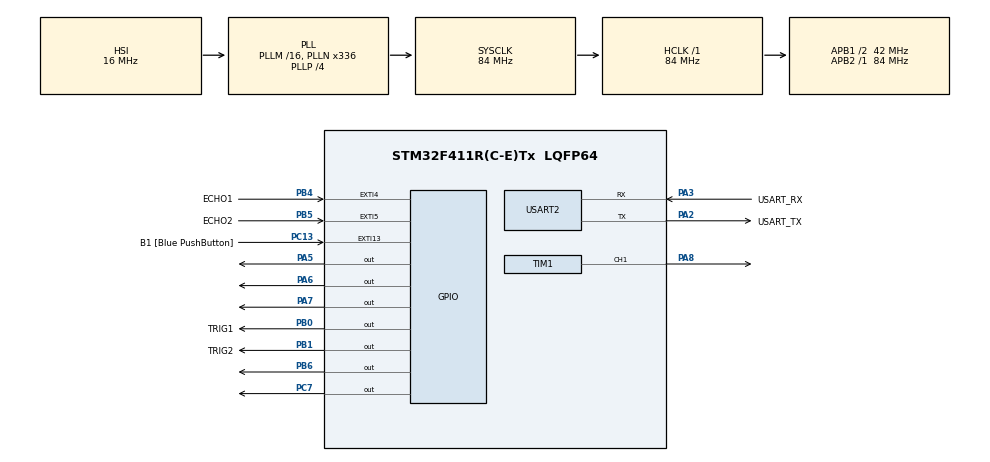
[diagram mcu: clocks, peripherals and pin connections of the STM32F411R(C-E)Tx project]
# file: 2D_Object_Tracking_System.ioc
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Mcu.Family=STM32F4
Mcu.Name=STM32F411R(C-E)Tx
Mcu.Package=LQFP64
NVIC.EXTI4_IRQn=true\:0\:0\:false\:false\:true\:true\:true\:true
NVIC.EXTI9_5_IRQn=true\:0\:0\:false\:false\:true\:true\:true\:true
NVIC.PriorityGroup=NVIC_PRIORITYGROUP_0
PA13.GPIO_Label=TMS
PA13.Mode=Serial_Wire
PA13.Signal=SYS_JTMS-SWDIO
PA14.GPIO_Label=TCK
PA14.Mode=Serial_Wire
PA14.Signal=SYS_JTCK-SWCLK
PA2.GPIO_Label=USART_TX
PA2.Mode=Asynchronous
PA2.Signal=USART2_TX
PA3.GPIO_Label=USART_RX
PA3.Mode=Asynchronous
PA3.Signal=USART2_RX
PA5.Signal=GPIO_Output
PA6.Signal=GPIO_Output
PA7.Signal=GPIO_Output
PA8.Signal=S_TIM1_CH1
PB0.GPIO_Label=TRIG1
PB0.Signal=GPIO_Output
PB1.GPIO_Label=TRIG2
PB1.Signal=GPIO_Output
PB3.GPIO_Label=SWO
PB3.Signal=SYS_JTDO-SWO
PB4.GPIO_Label=ECHO1
PB4.Signal=GPXTI4
PB5.GPIO_Label=ECHO2
PB5.Signal=GPXTI5
PB6.Signal=GPIO_Output
PC13-ANTI_TAMP.GPIO_Label=B1 [Blue PushButton]
PC13-ANTI_TAMP.GPIO_ModeDefaultEXTI=GPIO_MODE_IT_FALLING
PC13-ANTI_TAMP.Signal=GPXTI13
PC14-OSC32_IN.Mode=LSE-External-Oscillator
PC14-OSC32_IN.Signal=RCC_OSC32_IN
PC15-OSC32_OUT.Mode=LSE-External-Oscillator
PC15-OSC32_OUT.Signal=RCC_OSC32_OUT
PC7.Signal=GPIO_Output
PH0\ -\ OSC_IN.Mode=HSE-External-Oscillator
PH0\ -\ OSC_IN.Signal=RCC_OSC_IN
PH1\ -\ OSC_OUT.Mode=HSE-External-Oscillator
PH1\ -\ OSC_OUT.Signal=RCC_OSC_OUT
ProjectManager.HeapSize=0x200
ProjectManager.StackSize=0x400
ProjectManager.TargetToolchain=STM32CubeIDE
RCC.48MHZClocksFreq_Value=84000000
RCC.AHBFreq_Value=84000000
RCC.APB1CLKDivider=RCC_HCLK_DIV2
RCC.APB1Freq_Value=42000000
RCC.APB1TimFreq_Value=84000000
RCC.APB2Freq_Value=84000000
RCC.APB2TimFreq_Value=84000000
RCC.CortexFreq_Value=84000000
RCC.FLatency-AdvancedSettings=FLASH_LATENCY_2
RCC.HCLKFreq_Value=84000000
RCC.HSE_VALUE=8000000
RCC.HSI_VALUE=16000000
RCC.PLLN=336
RCC.PLLP=RCC_PLLP_DIV4
RCC.SYSCLKFreq_VALUE=84000000
RCC.SYSCLKSource=RCC_SYSCLKSOURCE_PLLCLK
RCC.VCOOutputFreq_Value=336000000
SH.S_TIM1_CH1.0=TIM1_CH1,PWM Generation1 CH1
TIM1.Channel-PWM\ Generation1\ CH1=TIM_CHANNEL_1
TIM1.Period=19999
TIM1.Prescaler=99
TIM1.Pulse-PWM\ Generation1\ CH1=1500
TIM2.Period=65535
TIM2.Prescaler=99
USART2.VirtualMode=VM_ASYNC
VP_TIM1_VS_ClockSourceINT.Mode=Internal
VP_TIM2_VS_ClockSourceINT.Mode=Internal
board=NUCLEO-F411RE

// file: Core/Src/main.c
/* USER CODE BEGIN Header */
/**
  ******************************************************************************
  * @file           : main.c
  * @brief          : Main program body
  ******************************************************************************
  * @attention
  *
  * Copyright (c) 2025 STMicroelectronics.
  * All rights reserved.
  *
  * This software is licensed under terms that can be found in the LICENSE file
  * in the root directory of this software component.
  * If no LICENSE file comes with this software, it is provided AS-IS.
  *
  ******************************************************************************
  */
/* USER CODE END Header */
#include "main.h"
#include "math.h"
/* USER CODE BEGIN Includes */
#include <stdio.h>  // Added for printf
/* USER CODE END Includes */

/* USER CODE BEGIN PD */
// LED angle thresholds
#define LEFT_RED_THRESHOLD 21.0      // 0-20°
#define LEFT_YELLOW_THRESHOLD 80.0   // 21-79°

#define CENTER_THRESHOLD_LOW 80.0    // 80-100° (center zone)
#define CENTER_THRESHOLD_HIGH 100.0

#define RIGHT_YELLOW_THRESHOLD 100.0 // 101-159°
#define RIGHT_RED_THRESHOLD 159.0    // 160-180°
/* USER CODE END PD */

TIM_HandleTypeDef htim1;
TIM_HandleTypeDef htim2;
UART_HandleTypeDef huart2;

/* USER CODE BEGIN PV */
volatile uint32_t pulse_width1 = 0, pulse_width2 = 0;
volatile uint8_t new_data1 = 0, new_data2 = 0;
volatile float angle_deg;
/* USER CODE END PV */

void SystemClock_Config(void);
static void MX_GPIO_Init(void);
static void MX_USART2_UART_Init(void);
static void MX_TIM1_Init(void);
static void MX_TIM2_Init(void);
/* USER CODE BEGIN PFP */
void delay_us(uint16_t us);
/* USER CODE END PFP */

void HAL_GPIO_EXTI_Callback(uint16_t GPIO_Pin);
/* USER CODE BEGIN 0 */
// UART support for printf
int __io_putchar(int ch) {
    HAL_UART_Transmit(&huart2, (uint8_t*)&ch, 1, HAL_MAX_DELAY);
    return ch;
}

// EXTI Callback for ultrasonic sensors
void HAL_GPIO_EXTI_Callback(uint16_t GPIO_Pin) {
  static uint16_t rising_time1 = 0, rising_time2 = 0;
  static uint8_t state1 = 0, state2 = 0;
  uint16_t current_time = TIM2->CNT;

  if (GPIO_Pin == ECHO1_Pin) {
    if (state1 == 0 && HAL_GPIO_ReadPin(ECHO1_GPIO_Port, ECHO1_Pin)) {
      rising_time1 = current_time;
      state1 = 1;
    } else if (state1 == 1 && !HAL_GPIO_ReadPin(ECHO1_GPIO_Port, ECHO1_Pin)) {
      pulse_width1 = (current_time >= rising_time1) ?
          (current_time - rising_time1) :
          (current_time + 65536 - rising_time1);
      state1 = 0;
      new_data1 = 1;
    }
  }

  if (GPIO_Pin == ECHO2_Pin) {
    if (state2 == 0 && HAL_GPIO_ReadPin(ECHO2_GPIO_Port, ECHO2_Pin)) {
      rising_time2 = current_time;
      state2 = 1;
    } else if (state2 == 1 && !HAL_GPIO_ReadPin(ECHO2_GPIO_Port, ECHO2_Pin)) {
      pulse_width2 = (current_time >= rising_time2) ?
          (current_time - rising_time2) :
          (current_time + 65536 - rising_time2);
      state2 = 0;
      new_data2 = 1;
    }
  }
}

// Microsecond Delay
void delay_us(uint16_t us) {
  for (uint32_t i = 0; i < us * 10; i++) {
    __NOP(); // ~100ns per NOP at 100MHz
  }
}

// Update LED indicators based on angle
void update_leds(float angle_deg) {
  // Turn off all LEDs first
  HAL_GPIO_WritePin(GPIOA, GPIO_PIN_5, GPIO_PIN_RESET); // Left Red
  HAL_GPIO_WritePin(GPIOA, GPIO_PIN_6, GPIO_PIN_RESET); // Left Yellow
  HAL_GPIO_WritePin(GPIOA, GPIO_PIN_7, GPIO_PIN_RESET); // Green
  HAL_GPIO_WritePin(GPIOB, GPIO_PIN_6, GPIO_PIN_RESET); // Right Yellow
  HAL_GPIO_WritePin(GPIOC, GPIO_PIN_7, GPIO_PIN_RESET); // Right Red

  // Determine which LED to light based on angle
  if (angle_deg >= CENTER_THRESHOLD_LOW && angle_deg <= CENTER_THRESHOLD_HIGH) {
    // Center position - Green LED
    HAL_GPIO_WritePin(GPIOA, GPIO_PIN_7, GPIO_PIN_SET);
  }
  else if (angle_deg < LEFT_RED_THRESHOLD) {
    // Far left - Left Red
    HAL_GPIO_WritePin(GPIOC, GPIO_PIN_7, GPIO_PIN_SET);
  }
  else if (angle_deg < LEFT_YELLOW_THRESHOLD && angle_deg >= LEFT_RED_THRESHOLD) {
    // Between center and far left - Left Yellow
    HAL_GPIO_WritePin(GPIOB, GPIO_PIN_6, GPIO_PIN_SET);
  }
  else if (angle_deg > RIGHT_RED_THRESHOLD) {
    // Far right - Right Red
    HAL_GPIO_WritePin(GPIOA, GPIO_PIN_5, GPIO_PIN_SET);
  }
  else if (angle_deg > RIGHT_YELLOW_THRESHOLD && angle_deg <= RIGHT_RED_THRESHOLD) {
    // Between center and far right - Right Yellow
    HAL_GPIO_WritePin(GPIOA, GPIO_PIN_6, GPIO_PIN_SET);
  }
}
/* USER CODE END 0 */

int main(void) {
  HAL_Init();
  SystemClock_Config();
  MX_GPIO_Init();
  MX_USART2_UART_Init();  // Initialize UART
  MX_TIM1_Init();
  MX_TIM2_Init();

  /* USER CODE BEGIN 2 */
  HAL_TIM_Base_Start(&htim2);
  HAL_TIM_PWM_Start(&htim1, TIM_CHANNEL_1);
  __HAL_TIM_SET_COMPARE(&htim1, TIM_CHANNEL_1, 1500); // Center servo

  // Initialize LEDs to OFF
  HAL_GPIO_WritePin(GPIOA, GPIO_PIN_5|GPIO_PIN_6|GPIO_PIN_7, GPIO_PIN_RESET);
  HAL_GPIO_WritePin(GPIOB, GPIO_PIN_6, GPIO_PIN_RESET);
  HAL_GPIO_WritePin(GPIOC, GPIO_PIN_7, GPIO_PIN_RESET);

  printf("System Started\r\n");
  /* USER CODE END 2 */

  while (1) {
    /* USER CODE BEGIN 3 */
    // Trigger Sensor 1
    HAL_GPIO_WritePin(TRIG1_GPIO_Port, TRIG1_Pin, GPIO_PIN_SET);
    delay_us(10);
    HAL_GPIO_WritePin(TRIG1_GPIO_Port, TRIG1_Pin, GPIO_PIN_RESET);

    // Wait for measurement (timeout: 100ms)
    uint32_t start = HAL_GetTick();
    while (!new_data1 && (HAL_GetTick() - start) < 100);
    if (new_data1) new_data1 = 0; else pulse_width1 = 0;

    // Trigger Sensor 2
    HAL_GPIO_WritePin(TRIG2_GPIO_Port, TRIG2_Pin, GPIO_PIN_SET);
    delay_us(10);
    HAL_GPIO_WritePin(TRIG2_GPIO_Port, TRIG2_Pin, GPIO_PIN_RESET);

    start = HAL_GetTick();
    while (!new_data2 && (HAL_GetTick() - start) < 100);
    if (new_data2) new_data2 = 0; else pulse_width2 = 0;

    // Calculate distances (cm)
    float dist1 = (pulse_width1 > 0) ? (pulse_width1 * 0.034 / 2) : 400.0;
    float dist2 = (pulse_width2 > 0) ? (pulse_width2 * 0.034 / 2) : 400.0;

    // Object tracking logic
    angle_deg = 90.0; // Default center
    const float SENSOR_DISTANCE = 9.0; // Sensor spacing (cm)

    if (dist1 < 400.0 || dist2 < 400.0) {
      float diff = dist2 - dist1;
      angle_deg = 90.0 + (atan2f(diff, SENSOR_DISTANCE) * 180.0 / M_PI);
      if (angle_deg < 0) angle_deg = 0;
      if (angle_deg > 180) angle_deg = 180;
    }

    // Convert angle to PWM pulse (1000µs=0°, 2000µs=180°)
    uint32_t pulse = 1000 + (uint32_t)(angle_deg * (1000.0 / 180.0));
    __HAL_TIM_SET_COMPARE(&htim1, TIM_CHANNEL_1, pulse);

    // Update LED indicators
    update_leds(angle_deg);

    HAL_Delay(50); // Cycle delay
  }
}

void SystemClock_Config(void)
{
  RCC_OscInitTypeDef RCC_OscInitStruct = {0};
  RCC_ClkInitTypeDef RCC_ClkInitStruct = {0};

  /** Configure the main internal regulator output voltage
  */
  __HAL_RCC_PWR_CLK_ENABLE();
  __HAL_PWR_VOLTAGESCALING_CONFIG(PWR_REGULATOR_VOLTAGE_SCALE1);

  /** Initializes the RCC Oscillators according to the specified parameters
  * in the RCC_OscInitTypeDef structure.
  */
  RCC_OscInitStruct.OscillatorType = RCC_OSCILLATORTYPE_HSI;
  RCC_OscInitStruct.HSIState = RCC_HSI_ON;
  RCC_OscInitStruct.HSICalibrationValue = RCC_HSICALIBRATION_DEFAULT;
  RCC_OscInitStruct.PLL.PLLState = RCC_PLL_ON;
  RCC_OscInitStruct.PLL.PLLSource = RCC_PLLSOURCE_HSI;
  RCC_OscInitStruct.PLL.PLLM = 16;
  RCC_OscInitStruct.PLL.PLLN = 336;
  RCC_OscInitStruct.PLL.PLLP = RCC_PLLP_DIV4;
  RCC_OscInitStruct.PLL.PLLQ = 4;
  if (HAL_RCC_OscConfig(&RCC_OscInitStruct) != HAL_OK)
  {
    Error_Handler();
  }

  /** Initializes the CPU, AHB and APB buses clocks
  */
  RCC_ClkInitStruct.ClockType = RCC_CLOCKTYPE_HCLK|RCC_CLOCKTYPE_SYSCLK
                              |RCC_CLOCKTYPE_PCLK1|RCC_CLOCKTYPE_PCLK2;
  RCC_ClkInitStruct.SYSCLKSource = RCC_SYSCLKSOURCE_PLLCLK;
  RCC_ClkInitStruct.AHBCLKDivider = RCC_SYSCLK_DIV1;
  RCC_ClkInitStruct.APB1CLKDivider = RCC_HCLK_DIV2;
  RCC_ClkInitStruct.APB2CLKDivider = RCC_HCLK_DIV1;

  if (HAL_RCC_ClockConfig(&RCC_ClkInitStruct, FLASH_LATENCY_2) != HAL_OK)
  {
    Error_Handler();
  }
}

static void MX_TIM1_Init(void)
{

  TIM_ClockConfigTypeDef sClockSourceConfig = {0};
  TIM_MasterConfigTypeDef sMasterConfig = {0};
  TIM_OC_InitTypeDef sConfigOC = {0};
  TIM_BreakDeadTimeConfigTypeDef sBreakDeadTimeConfig = {0};

  htim1.Instance = TIM1;
  htim1.Init.Prescaler = 99;
  htim1.Init.CounterMode = TIM_COUNTERMODE_UP;
  htim1.Init.Period = 19999;
  htim1.Init.ClockDivision = TIM_CLOCKDIVISION_DIV1;
  htim1.Init.RepetitionCounter = 0;
  htim1.Init.AutoReloadPreload = TIM_AUTORELOAD_PRELOAD_DISABLE;
  if (HAL_TIM_Base_Init(&htim1) != HAL_OK)
  {
    Error_Handler();
  }
  sClockSourceConfig.ClockSource = TIM_CLOCKSOURCE_INTERNAL;
  if (HAL_TIM_ConfigClockSource(&htim1, &sClockSourceConfig) != HAL_OK)
  {
    Error_Handler();
  }
  if (HAL_TIM_PWM_Init(&htim1) != HAL_OK)
  {
    Error_Handler();
  }
  sMasterConfig.MasterOutputTrigger = TIM_TRGO_RESET;
  sMasterConfig.MasterSlaveMode = TIM_MASTERSLAVEMODE_DISABLE;
  if (HAL_TIMEx_MasterConfigSynchronization(&htim1, &sMasterConfig) != HAL_OK)
  {
    Error_Handler();
  }
  sConfigOC.OCMode = TIM_OCMODE_PWM1;
  sConfigOC.Pulse = 1500;
  sConfigOC.OCPolarity = TIM_OCPOLARITY_HIGH;
  sConfigOC.OCNPolarity = TIM_OCNPOLARITY_HIGH;
  sConfigOC.OCFastMode = TIM_OCFAST_DISABLE;
  sConfigOC.OCIdleState = TIM_OCIDLESTATE_RESET;
  sConfigOC.OCNIdleState = TIM_OCNIDLESTATE_RESET;
  if (HAL_TIM_PWM_ConfigChannel(&htim1, &sConfigOC, TIM_CHANNEL_1) != HAL_OK)
  {
    Error_Handler();
  }
  sBreakDeadTimeConfig.OffStateRunMode = TIM_OSSR_DISABLE;
  sBreakDeadTimeConfig.OffStateIDLEMode = TIM_OSSI_DISABLE;
  sBreakDeadTimeConfig.LockLevel = TIM_LOCKLEVEL_OFF;
  sBreakDeadTimeConfig.DeadTime = 0;
  sBreakDeadTimeConfig.BreakState = TIM_BREAK_DISABLE;
  sBreakDeadTimeConfig.BreakPolarity = TIM_BREAKPOLARITY_HIGH;
  sBreakDeadTimeConfig.AutomaticOutput = TIM_AUTOMATICOUTPUT_DISABLE;
  if (HAL_TIMEx_ConfigBreakDeadTime(&htim1, &sBreakDeadTimeConfig) != HAL_OK)
  {
    Error_Handler();
  }
  HAL_TIM_MspPostInit(&htim1);

}

static void MX_TIM2_Init(void)
{

  TIM_ClockConfigTypeDef sClockSourceConfig = {0};
  TIM_MasterConfigTypeDef sMasterConfig = {0};

  htim2.Instance = TIM2;
  htim2.Init.Prescaler = 99;
  htim2.Init.CounterMode = TIM_COUNTERMODE_UP;
  htim2.Init.Period = 65535;
  htim2.Init.ClockDivision = TIM_CLOCKDIVISION_DIV1;
  htim2.Init.AutoReloadPreload = TIM_AUTORELOAD_PRELOAD_DISABLE;
  if (HAL_TIM_Base_Init(&htim2) != HAL_OK)
  {
    Error_Handler();
  }
  sClockSourceConfig.ClockSource = TIM_CLOCKSOURCE_INTERNAL;
  if (HAL_TIM_ConfigClockSource(&htim2, &sClockSourceConfig) != HAL_OK)
  {
    Error_Handler();
  }
  sMasterConfig.MasterOutputTrigger = TIM_TRGO_RESET;
  sMasterConfig.MasterSlaveMode = TIM_MASTERSLAVEMODE_DISABLE;
  if (HAL_TIMEx_MasterConfigSynchronization(&htim2, &sMasterConfig) != HAL_OK)
  {
    Error_Handler();
  }

}

static void MX_USART2_UART_Init(void)
{

  huart2.Instance = USART2;
  huart2.Init.BaudRate = 115200;
  huart2.Init.WordLength = UART_WORDLENGTH_8B;
  huart2.Init.StopBits = UART_STOPBITS_1;
  huart2.Init.Parity = UART_PARITY_NONE;
  huart2.Init.Mode = UART_MODE_TX_RX;
  huart2.Init.HwFlowCtl = UART_HWCONTROL_NONE;
  huart2.Init.OverSampling = UART_OVERSAMPLING_16;
  if (HAL_UART_Init(&huart2) != HAL_OK)
  {
    Error_Handler();
  }

}

static void MX_GPIO_Init(void)
{
  GPIO_InitTypeDef GPIO_InitStruct = {0};

  /* GPIO Ports Clock Enable */
  __HAL_RCC_GPIOC_CLK_ENABLE();
  __HAL_RCC_GPIOH_CLK_ENABLE();
  __HAL_RCC_GPIOA_CLK_ENABLE();
  __HAL_RCC_GPIOB_CLK_ENABLE();

  /*Configure GPIO pin Output Level */
  HAL_GPIO_WritePin(GPIOA, GPIO_PIN_5|GPIO_PIN_6|GPIO_PIN_7, GPIO_PIN_RESET);

  /*Configure GPIO pin Output Level */
  HAL_GPIO_WritePin(GPIOB, TRIG1_Pin|TRIG2_Pin|GPIO_PIN_6, GPIO_PIN_RESET);

  /*Configure GPIO pin Output Level */
  HAL_GPIO_WritePin(GPIOC, GPIO_PIN_7, GPIO_PIN_RESET);

  /*Configure GPIO pin : B1_Pin */
  GPIO_InitStruct.Pin = B1_Pin;
  GPIO_InitStruct.Mode = GPIO_MODE_IT_FALLING;
  GPIO_InitStruct.Pull = GPIO_NOPULL;
  HAL_GPIO_Init(B1_GPIO_Port, &GPIO_InitStruct);

  /*Configure GPIO pins : PA5 PA6 PA7 */
  GPIO_InitStruct.Pin = GPIO_PIN_5|GPIO_PIN_6|GPIO_PIN_7;
  GPIO_InitStruct.Mode = GPIO_MODE_OUTPUT_PP;
  GPIO_InitStruct.Pull = GPIO_NOPULL;
  GPIO_InitStruct.Speed = GPIO_SPEED_FREQ_LOW;
  HAL_GPIO_Init(GPIOA, &GPIO_InitStruct);

  /*Configure GPIO pins : TRIG1_Pin TRIG2_Pin PB6 */
  GPIO_InitStruct.Pin = TRIG1_Pin|TRIG2_Pin|GPIO_PIN_6;
  GPIO_InitStruct.Mode = GPIO_MODE_OUTPUT_PP;
  GPIO_InitStruct.Pull = GPIO_NOPULL;
  GPIO_InitStruct.Speed = GPIO_SPEED_FREQ_LOW;
  HAL_GPIO_Init(GPIOB, &GPIO_InitStruct);

  /*Configure GPIO pin : PC7 */
  GPIO_InitStruct.Pin = GPIO_PIN_7;
  GPIO_InitStruct.Mode = GPIO_MODE_OUTPUT_PP;
  GPIO_InitStruct.Pull = GPIO_NOPULL;
  GPIO_InitStruct.Speed = GPIO_SPEED_FREQ_LOW;
  HAL_GPIO_Init(GPIOC, &GPIO_InitStruct);

  /*Configure GPIO pins : ECHO1_Pin ECHO2_Pin */
  GPIO_InitStruct.Pin = ECHO1_Pin|ECHO2_Pin;
  GPIO_InitStruct.Mode = GPIO_MODE_IT_RISING_FALLING;  // ← FIXED
  GPIO_InitStruct.Pull = GPIO_NOPULL;
  HAL_GPIO_Init(GPIOB, &GPIO_InitStruct);

  /* EXTI interrupt init*/
  HAL_NVIC_SetPriority(EXTI4_IRQn, 0, 0);
  HAL_NVIC_EnableIRQ(EXTI4_IRQn);

  HAL_NVIC_SetPriority(EXTI9_5_IRQn, 0, 0);
  HAL_NVIC_EnableIRQ(EXTI9_5_IRQn);

}

void Error_Handler(void)
{
  __disable_irq();
  while (1)
  {
  }
}
